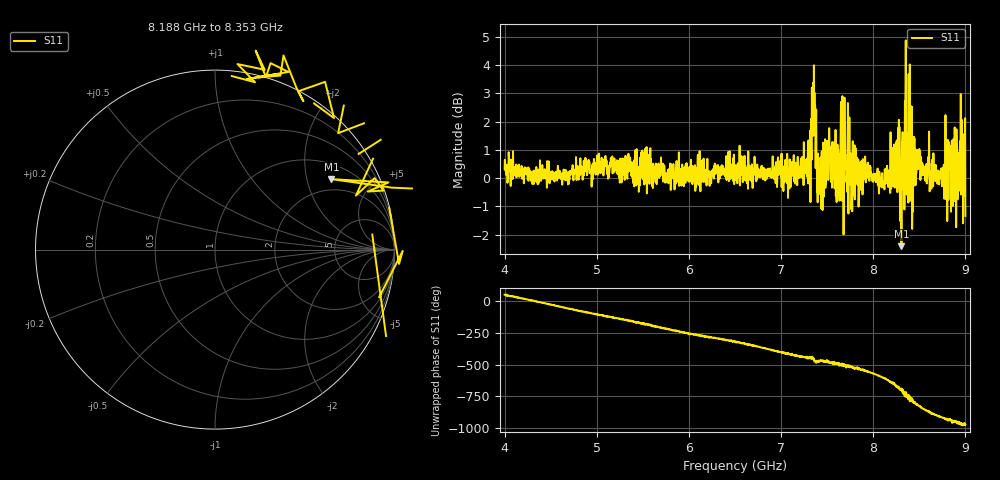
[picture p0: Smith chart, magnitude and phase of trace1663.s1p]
! Created with skrf 1.8.0 (http://scikit-rf.org).
# Hz S RI R 50.0
!freq ReS11 ImS11
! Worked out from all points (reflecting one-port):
!   1601 points, 4 GHz to 9 GHz, reference 50 ohm
!   lowest |S11| = -2.4 dB at 8.306 GHz (marker M1), VSWR 7.27, Z = 76.6 + j141 ohm
!   phase of S11 starts at 53 deg and turns -1027 deg over the sweep
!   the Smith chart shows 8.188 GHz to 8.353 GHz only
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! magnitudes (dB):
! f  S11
! 4 GHz  0.3
! 4.625 GHz  -0.2
! 5.25 GHz  -0.2
! 5.875 GHz  0.0
! 6.5 GHz  0.4
! 7.125 GHz  0.4
! 7.294 GHz  -0.2
! 7.356 GHz  4.0
! 7.412 GHz  -0.2
! 7.519 GHz  0.4
! 7.619 GHz  1.0
! 7.669 GHz  1.7
! 7.75 GHz  -0.2
! 8.097 GHz  0.2
! 8.262 GHz  -0.5
! 8.306 GHz  -2.4
! 8.316 GHz  1.3
! 8.334 GHz  1.4
! 8.375 GHz  0.5
! 8.384 GHz  3.7
! 8.447 GHz  1.4
! 8.466 GHz  0.1
! 8.562 GHz  -0.1
! 8.778 GHz  0.4
! 8.834 GHz  0.7
! 8.919 GHz  -0.3
! 8.972 GHz  1.1
! 9 GHz  -1.3
